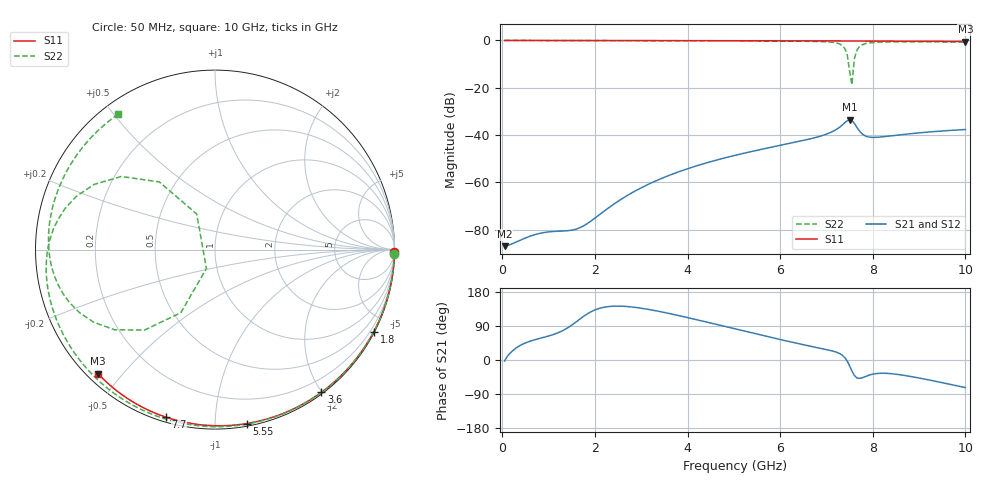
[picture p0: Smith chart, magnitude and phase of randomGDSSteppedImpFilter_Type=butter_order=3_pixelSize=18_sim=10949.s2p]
! freq	dB(S11)	phase(S11)	dB(S12)	phase(S12)
!  dB(S21)	phase(S21)	dB(S22)	phase(S22)
!S-par simulation data
#  GHz  S  DB  R 50
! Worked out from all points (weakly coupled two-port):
!   200 points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, 50 MHz to 10 GHz, reference 50 ohm
!   highest |S21| = -33.47 dB at 7.5 GHz (marker M1); lowest = -87.0 dB at 50 MHz (marker M2)
!   lowest |S11| = -0.4 dB at 10 GHz (marker M3), VSWR 38.86, Z = 1.53 - j21.6 ohm
!   |S11| at or under -10 dB: nowhere
!   |S22| runs from -18.7 to 0.0 dB; largest |S21 - S12| = 0
!   S11 on the Smith chart (normalised r, x): 50 MHz: open; 1.8 GHz: 0.04, -4.12; 3.6 GHz: 0.02, -1.99; 5.55 GHz: 0.02, -1.20; 7.7 GHz: 0.02, -0.75; 10 GHz: 0.03, -0.43
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0.05  -0.00 -0.8  -87.00 -2.6  -87.00 -2.6  -0.00 -1.4
1.55  -0.03 -23.5  -80.04 96.5  -80.04 96.5  -0.05 -41.3
1.75  -0.03 -26.5  -78.48 114.7  -78.48 114.7  -0.06 -46.4
1.8  -0.03 -27.3  -77.90 118.9  -77.90 118.9  -0.06 -47.7
2.65  -0.05 -39.8  -66.15 141.5  -66.15 141.5  -0.09 -69.0
3.4  -0.07 -50.5  -58.67 128.0  -58.67 128.0  -0.11 -87.1
3.6  -0.07 -53.3  -57.08 122.9  -57.08 122.9  -0.12 -91.8
5.05  -0.11 -73.1  -48.47 81.4  -48.47 81.4  -0.19 -125.2
5.55  -0.13 -79.6  -46.24 66.8  -46.24 66.8  -0.22 -136.8
6.7  -0.18 -94.2  -41.37 35.2  -41.37 35.2  -0.39 -166.8
7.05  -0.20 -98.5  -39.23 26.1  -39.23 26.1  -0.64 179.0
7.25  -0.21 -101.0  -37.17 19.0  -37.17 19.0  -1.25 164.7
7.4  -0.22 -102.8  -34.72 5.8  -34.72 5.8  -3.58 142.0
7.45  -0.22 -103.4  -33.90 -3.2  -33.90 -3.2  -6.22 129.5
7.5  -0.23 -104.0  -33.47 -15.6  -33.47 -15.6  -13.05 117.2
7.55  -0.23 -104.6  -33.84 -29.3  -33.84 -29.3  -18.71 -114.4
7.6  -0.23 -105.2  -35.02 -40.4  -35.02 -40.4  -7.96 -118.4
7.7  -0.24 -106.4  -37.99 -48.5  -37.99 -48.5  -2.90 -141.4
7.9  -0.25 -108.8  -40.77 -40.9  -40.77 -40.9  -1.10 -163.8
8.35  -0.29 -114.1  -40.44 -35.6  -40.44 -35.6  -0.62 175.0
9.15  -0.36 -123.5  -38.82 -51.1  -38.82 -51.1  -0.59 150.5
10  -0.45 -133.3  -37.66 -72.9  -37.66 -72.9  -0.66 125.6
